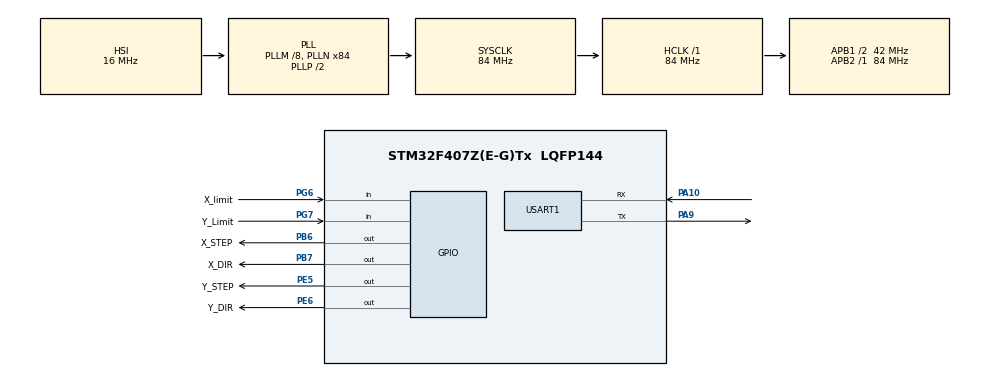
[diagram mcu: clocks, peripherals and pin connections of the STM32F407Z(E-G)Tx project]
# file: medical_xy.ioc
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Mcu.Family=STM32F4
Mcu.Name=STM32F407Z(E-G)Tx
Mcu.Package=LQFP144
NVIC.PriorityGroup=NVIC_PRIORITYGROUP_4
NVIC.TIM3_IRQn=true\:0\:0\:false\:false\:true\:true\:true\:true
NVIC.USART1_IRQn=true\:1\:0\:true\:false\:true\:true\:true\:true
PA10.Mode=Asynchronous
PA10.Signal=USART1_RX
PA13.Mode=Serial_Wire
PA13.Signal=SYS_JTMS-SWDIO
PA14.Mode=Serial_Wire
PA14.Signal=SYS_JTCK-SWCLK
PA9.Mode=Asynchronous
PA9.Signal=USART1_TX
PB6.GPIO_Label=X_STEP
PB6.GPIO_Speed=GPIO_SPEED_FREQ_HIGH
PB6.Signal=GPIO_Output
PB7.GPIO_Label=X_DIR
PB7.GPIO_Speed=GPIO_SPEED_FREQ_HIGH
PB7.Signal=GPIO_Output
PE5.GPIO_Label=Y_STEP
PE5.GPIO_Speed=GPIO_SPEED_FREQ_HIGH
PE5.Signal=GPIO_Output
PE6.GPIO_Label=Y_DIR
PE6.GPIO_Speed=GPIO_SPEED_FREQ_HIGH
PE6.Signal=GPIO_Output
PG6.GPIO_Label=X_limit
PG6.GPIO_PuPd=GPIO_PULLUP
PG6.Signal=GPIO_Input
PG7.GPIO_Label=Y_Limit
PG7.GPIO_PuPd=GPIO_PULLUP
PG7.Signal=GPIO_Input
PH0-OSC_IN.Mode=HSE-External-Oscillator
PH0-OSC_IN.Signal=RCC_OSC_IN
PH1-OSC_OUT.Mode=HSE-External-Oscillator
PH1-OSC_OUT.Signal=RCC_OSC_OUT
ProjectManager.HeapSize=0x200
ProjectManager.StackSize=0x400
ProjectManager.TargetToolchain=MDK-ARM V5.32
RCC.48MHZClocksFreq_Value=42000000
RCC.AHBFreq_Value=84000000
RCC.APB1CLKDivider=RCC_HCLK_DIV2
RCC.APB1Freq_Value=42000000
RCC.APB1TimFreq_Value=84000000
RCC.APB2Freq_Value=84000000
RCC.APB2TimFreq_Value=84000000
RCC.CortexFreq_Value=84000000
RCC.HCLKFreq_Value=84000000
RCC.HSE_VALUE=25000000
RCC.HSI_VALUE=16000000
RCC.LSE_VALUE=32768
RCC.PLLM=8
RCC.PLLN=84
RCC.SYSCLKFreq_VALUE=84000000
RCC.SYSCLKSource=RCC_SYSCLKSOURCE_PLLCLK
RCC.VCOOutputFreq_Value=168000000
TIM3.AutoReloadPreload=TIM_AUTORELOAD_PRELOAD_ENABLE
TIM3.Period=999
TIM3.Prescaler=83
USART1.VirtualMode=VM_ASYNC
VP_TIM3_VS_ClockSourceINT.Mode=Internal
board=custom

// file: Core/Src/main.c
/* USER CODE BEGIN Header */
/**
  ******************************************************************************
  * @file           : main.c
  * @brief          : Main program body
  ******************************************************************************
  * @attention
  *
  * Copyright (c) 2026 STMicroelectronics.
  * All rights reserved.
  *
  * This software is licensed under terms that can be found in the LICENSE file
  * in the root directory of this software component.
  * If no LICENSE file comes with this software, it is provided AS-IS.
  *
  ******************************************************************************
  */
/* USER CODE END Header */
#include "main.h"
#include "tim.h"
#include "usart.h"
#include "gpio.h"

/* USER CODE BEGIN Includes */
#include "motor_core.h"    // 补上这个，它就能认识 XY_Sys 和 MOTOR_IDLE 了
#include "protocol.h"      // 如果 UART_SendString 在这里，也补上
#include <stdio.h>         // 如果你用了 sprintf，确保 stdio 也在这里
/* USER CODE END Includes */

void SystemClock_Config(void);

int main(void)
{

  /* USER CODE BEGIN 1 */
   HAL_Init();
  SystemClock_Config();
  MX_GPIO_Init();
  MX_TIM3_Init();
  MX_USART1_UART_Init();
  /* USER CODE END 1 */

  /* MCU Configuration--------------------------------------------------------*/

  /* Reset of all peripherals, Initializes the Flash interface and the Systick. */
  HAL_Init();

  /* Configure the system clock */
  SystemClock_Config();

  /* Initialize all configured peripherals */
  MX_GPIO_Init();
  MX_TIM3_Init();
  MX_USART1_UART_Init();
  /* USER CODE BEGIN 2 */
 Protocol_Init();
  UART_SendString("[SYS OK] Medical XY Stage Online!\r\n");
   uint32_t last_report_time = 0; // 保留这个，给你 while(1) 里的 50ms 汇报用
  /* USER CODE END 2 */

  /* Infinite loop */
  while (1)
  {

    /* USER CODE BEGIN 3 */

     // 机器在运行才汇报
      if (XY_Sys.State != MOTOR_IDLE) {

          // 【核心架构升级】：非阻塞式延时！
          // 如果当前时间减去上次汇报的时间，大于等于 50 毫秒，才进去干活
          if (HAL_GetTick() - last_report_time >= 50) {

              // 进去的第一件事：更新手表时间，为下一次 50ms 倒计时做准备
              last_report_time = HAL_GetTick();

              // 执行汇报动作，CPU 绝不卡死
              char report_buf[64];
              sprintf(report_buf, "POS,%ld,%ld\r\n",(long) XY_Sys.Current_X, (long)XY_Sys.Current_Y);
              UART_SendString(report_buf);
          }
      }
      }
  /* USER CODE END 3 */
}

void SystemClock_Config(void)
{
  RCC_OscInitTypeDef RCC_OscInitStruct = {0};
  RCC_ClkInitTypeDef RCC_ClkInitStruct = {0};

  /** Configure the main internal regulator output voltage
  */
  __HAL_RCC_PWR_CLK_ENABLE();
  __HAL_PWR_VOLTAGESCALING_CONFIG(PWR_REGULATOR_VOLTAGE_SCALE1);

  /** Initializes the RCC Oscillators according to the specified parameters
  * in the RCC_OscInitTypeDef structure.
  */
  RCC_OscInitStruct.OscillatorType = RCC_OSCILLATORTYPE_HSI;
  RCC_OscInitStruct.HSIState = RCC_HSI_ON;
  RCC_OscInitStruct.HSICalibrationValue = RCC_HSICALIBRATION_DEFAULT;
  RCC_OscInitStruct.PLL.PLLState = RCC_PLL_ON;
  RCC_OscInitStruct.PLL.PLLSource = RCC_PLLSOURCE_HSI;
  RCC_OscInitStruct.PLL.PLLM = 8;
  RCC_OscInitStruct.PLL.PLLN = 84;
  RCC_OscInitStruct.PLL.PLLP = RCC_PLLP_DIV2;
  RCC_OscInitStruct.PLL.PLLQ = 4;
  if (HAL_RCC_OscConfig(&RCC_OscInitStruct) != HAL_OK)
  {
    Error_Handler();
  }

  /** Initializes the CPU, AHB and APB buses clocks
  */
  RCC_ClkInitStruct.ClockType = RCC_CLOCKTYPE_HCLK|RCC_CLOCKTYPE_SYSCLK
                              |RCC_CLOCKTYPE_PCLK1|RCC_CLOCKTYPE_PCLK2;
  RCC_ClkInitStruct.SYSCLKSource = RCC_SYSCLKSOURCE_PLLCLK;
  RCC_ClkInitStruct.AHBCLKDivider = RCC_SYSCLK_DIV1;
  RCC_ClkInitStruct.APB1CLKDivider = RCC_HCLK_DIV2;
  RCC_ClkInitStruct.APB2CLKDivider = RCC_HCLK_DIV1;

  if (HAL_RCC_ClockConfig(&RCC_ClkInitStruct, FLASH_LATENCY_2) != HAL_OK)
  {
    Error_Handler();
  }
}

void Error_Handler(void)
{
  __disable_irq();
  while (1)
  {
  }
}
